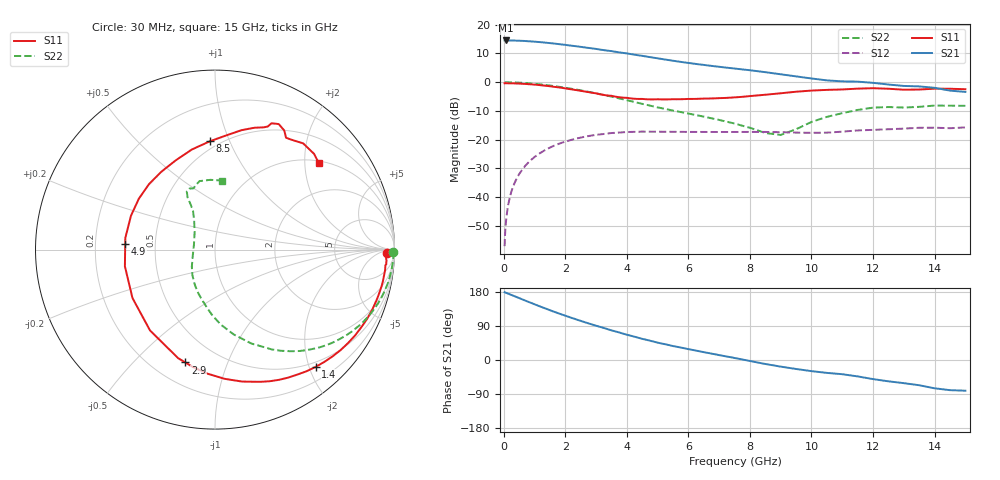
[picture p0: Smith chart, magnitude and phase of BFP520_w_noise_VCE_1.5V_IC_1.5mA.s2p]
! Infineon Technologies  Discrete & RF Semiconductors
! BFP520
! VCE =  1.5 V,  IC =  1.5 mA
! Common Emitter S-Parameters:  Oct 2015
# GHz  S  MA  R  50
!  f  S11  S21  S12  S22
! GHz  MAG  ANG  MAG  ANG  MAG  ANG  MAG  ANG
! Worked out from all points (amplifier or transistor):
!   109 points, 30 MHz to 15 GHz, reference 50 ohm
!   highest |S21| = 14.5 dB at 70 MHz (marker M1)
!   |S21| within 3 dB of that: start of sweep to 3.033 GHz
!   unconditionally stable (mu >= 1): 5.263 GHz to end of sweep
!   at 450 MHz: K = 0.03, MSG = 23.7 dB, |S12| = -33.0 dB
!   at 4 GHz: K = 0.69, MSG = 13.7 dB, |S12| = -17.3 dB
!   at 15 GHz: K = 1.79, MAG = 1.0 dB, |S12| = -15.8 dB
!   lowest NFmin = 0.90 dB at 900 MHz
!   S11 on the Smith chart (normalised r, x): 30 MHz: 39, -15; 1.4 GHz: 0.42, -2.11; 2.9 GHz: 0.33, -0.72; 4.9 GHz: 0.33, +0.03; 8.5 GHz: 0.45, +0.85; 15 GHz: 1.05, +2.34
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0.03  0.956 -1.0  5.307 178.9  0.0014 89.3  0.9937 -0.7
0.07  0.958 -2.4  5.312 177.2  0.0035 86.9  0.9942 -1.6
0.2  0.9545 -7.0  5.306 173.4  0.0099 86.3  0.9923 -4.5
0.45  0.9456 -15.6  5.262 165.1  0.0224 81.5  0.9829 -10.3
1  0.906 -35.0  5.063 147.1  0.0497 70.3  0.9366 -22.7
1.4  0.8613 -49.3  4.836 134.6  0.0682 61.8  0.8866 -31.2
1.6  0.8339 -56.6  4.718 128.4  0.0768 57.6  0.8581 -35.2
2  0.7791 -71.0  4.453 117.0  0.0922 49.5  0.799 -42.9
2.6  0.6928 -93.4  4.044 100.6  0.1112 38.1  0.7043 -53.5
2.9  0.6502 -104.7  3.846 93.0  0.1187 32.7  0.6556 -58.6
3.5  0.5779 -128.8  3.469 78.2  0.1302 22.5  0.5606 -68.9
4  0.5331 -149.6  3.164 66.7  0.1357 14.6  0.4852 -77.4
4.5  0.5106 -169.5  2.87 55.8  0.1378 7.8  0.4192 -85.6
4.9  0.5012 176.2  2.647 47.9  0.1374 3.2  0.3744 -91.1
5.1  0.5014 169.7  2.547 44.1  0.1372 1.2  0.3548 -93.8
6  0.5103 146.2  2.159 28.6  0.1362 -6.2  0.2844 -105.5
7.6  0.5476 111.5  1.701 3.8  0.1359 -16.4  0.1841 -133.4
8.5  0.6038 92.8  1.491 -10.5  0.136 -21.8  0.1305 -162.4
9  0.6402 84.2  1.37 -17.5  0.1347 -24.7  0.1206 166.4
10.5  0.7331 68.3  1.073 -34.0  0.1322 -28.2  0.2488 119.5
13  0.7385 57.6  0.859 -61.1  0.1555 -40.3  0.3613 109.2
15  0.7532 40.0  0.676 -81.0  0.163 -52.5  0.3869 84.0
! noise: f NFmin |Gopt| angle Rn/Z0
0.45  0.92  0.73  5  0.48
0.9  0.9  0.68  14  0.49
1.9  1.25  0.56  30  0.4
2.4  1.37  0.51  42  0.39
3.5  1.35  0.5  67  0.34
